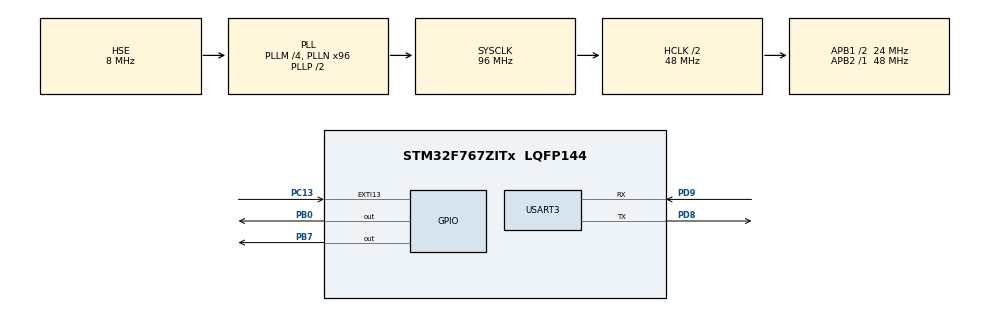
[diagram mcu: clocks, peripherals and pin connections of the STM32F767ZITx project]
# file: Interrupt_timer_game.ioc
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Mcu.Family=STM32F7
Mcu.Name=STM32F767ZITx
Mcu.Package=LQFP144
NVIC.EXTI15_10_IRQn=true\:0\:0\:false\:false\:true\:true\:true
NVIC.PriorityGroup=NVIC_PRIORITYGROUP_4
PB0.Signal=GPIO_Output
PB7.Signal=GPIO_Output
PC13.Signal=GPXTI13
PD8.Mode=Asynchronous
PD8.Signal=USART3_TX
PD9.Mode=Asynchronous
PD9.Signal=USART3_RX
PH0/OSC_IN.Mode=HSE-External-Oscillator
PH0/OSC_IN.Signal=RCC_OSC_IN
PH1/OSC_OUT.Mode=HSE-External-Oscillator
PH1/OSC_OUT.Signal=RCC_OSC_OUT
ProjectManager.HeapSize=0x200
ProjectManager.StackSize=0x400
ProjectManager.TargetToolchain=STM32CubeIDE
RCC.AHBCLKDivider=RCC_SYSCLK_DIV2
RCC.AHBFreq_Value=48000000
RCC.APB1CLKDivider=RCC_HCLK_DIV2
RCC.APB1Freq_Value=24000000
RCC.APB1TimFreq_Value=48000000
RCC.APB2Freq_Value=48000000
RCC.APB2TimFreq_Value=48000000
RCC.CortexFreq_Value=48000000
RCC.HCLKFreq_Value=48000000
RCC.HSE_VALUE=8000000
RCC.HSI_VALUE=16000000
RCC.LSE_VALUE=32768
RCC.PLLM=4
RCC.PLLN=96
RCC.PLLSourceVirtual=RCC_PLLSOURCE_HSE
RCC.SYSCLKFreq_VALUE=96000000
RCC.SYSCLKSource=RCC_SYSCLKSOURCE_PLLCLK
RCC.USBFreq_Value=96000000
RCC.VCOOutputFreq_Value=192000000
TIM13.Prescaler=4800-1
TIM14.Prescaler=4800-1
USART3.VirtualMode-Asynchronous=VM_ASYNC
VP_TIM13_VS_ClockSourceINT.Mode=Enable_Timer
VP_TIM14_VS_ClockSourceINT.Mode=Enable_Timer
board=custom

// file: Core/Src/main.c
/* USER CODE BEGIN Header */
/**
  ******************************************************************************
  * @file           : main.c
  * @brief          : Main program body
  ******************************************************************************
  * @attention
  *
  * <h2><center>&copy; Copyright (c) 2020 STMicroelectronics.
  * All rights reserved.</center></h2>
  *
  * This software component is licensed by ST under BSD 3-Clause license,
  * the "License"; You may not use this file except in compliance with the
  * License. You may obtain a copy of the License at:
  *                        opensource.org/licenses/BSD-3-Clause
  *
  ******************************************************************************
  */
/* USER CODE END Header */
#include "main.h"

/* USER CODE BEGIN Includes */
#include <math.h>
#include <string.h>
/* USER CODE END Includes */

TIM_HandleTypeDef htim13;
TIM_HandleTypeDef htim14;

UART_HandleTypeDef huart3;

/* USER CODE BEGIN PV */
char uart_bufer[20];
int uart_bufer_len;
uint16_t timer_val;

int gameRDY = 0;
uint16_t gameTime = 0;
uint8_t rndDelay;
char uart_game_buf[20];
int uart_game_buf_len;
uint8_t welcome[20] = "Let's PLAY!!!\r\n";
/* USER CODE END PV */

void SystemClock_Config(void);
static void MX_GPIO_Init(void);
static void MX_TIM14_Init(void);
static void MX_USART3_UART_Init(void);
static void MX_TIM13_Init(void);

int main(void)
{

  /* MCU Configuration--------------------------------------------------------*/

  /* Reset of all peripherals, Initializes the Flash interface and the Systick. */
  HAL_Init();

  /* Configure the system clock */
  SystemClock_Config();

  /* Initialize all configured peripherals */
  MX_GPIO_Init();
  MX_TIM14_Init();
  MX_USART3_UART_Init();
  MX_TIM13_Init();
  /* USER CODE BEGIN 2 */
  HAL_TIM_Base_Start(&htim14);
  HAL_TIM_Base_Start(&htim13);

  HAL_UART_Transmit(&huart3,welcome,20,10);
  /* USER CODE END 2 */

  /* Infinite loop */
  /* USER CODE BEGIN WHILE */
  while (1)
  {
	 // Task 1 - Measure how acurate HAL_Delay() is
	  /*timer_val = __HAL_TIM_GET_COUNTER(&htim14);

	  HAL_Delay(5000);

	  timer_val = __HAL_TIM_GET_COUNTER(&htim14) - timer_val;

	  uart_bufer_len = sprintf(uart_bufer,"%u us\r\n",timer_val);
	  HAL_UART_Transmit(&huart3,(uint8_t*)uart_bufer,uart_bufer_len,100);
	  HAL_Delay(1000);*/
	  //----------------------------

	  //Task 2 - Interrupt game
	  if(gameRDY == 1){

		  HAL_GPIO_WritePin(GPIOB,GPIO_PIN_0,1);
		  rndDelay = (rand()%8) + 1;
		  HAL_Delay(rndDelay*1000);
		  HAL_GPIO_WritePin(GPIOB,GPIO_PIN_7,1);
		  gameTime = __HAL_TIM_GET_COUNTER(&htim14);

	  }else{
		  HAL_GPIO_WritePin(GPIOB,GPIO_PIN_0,0);
		  HAL_GPIO_WritePin(GPIOB,GPIO_PIN_7,0);
	  }
	  //-------------------------------

    /* USER CODE END WHILE */

  }
}

void SystemClock_Config(void)
{
  RCC_OscInitTypeDef RCC_OscInitStruct = {0};
  RCC_ClkInitTypeDef RCC_ClkInitStruct = {0};
  RCC_PeriphCLKInitTypeDef PeriphClkInitStruct = {0};

  /** Configure the main internal regulator output voltage
  */
  __HAL_RCC_PWR_CLK_ENABLE();
  __HAL_PWR_VOLTAGESCALING_CONFIG(PWR_REGULATOR_VOLTAGE_SCALE3);
  /** Initializes the RCC Oscillators according to the specified parameters
  * in the RCC_OscInitTypeDef structure.
  */
  RCC_OscInitStruct.OscillatorType = RCC_OSCILLATORTYPE_HSE;
  RCC_OscInitStruct.HSEState = RCC_HSE_ON;
  RCC_OscInitStruct.PLL.PLLState = RCC_PLL_ON;
  RCC_OscInitStruct.PLL.PLLSource = RCC_PLLSOURCE_HSE;
  RCC_OscInitStruct.PLL.PLLM = 4;
  RCC_OscInitStruct.PLL.PLLN = 96;
  RCC_OscInitStruct.PLL.PLLP = RCC_PLLP_DIV2;
  RCC_OscInitStruct.PLL.PLLQ = 2;
  if (HAL_RCC_OscConfig(&RCC_OscInitStruct) != HAL_OK)
  {
    Error_Handler();
  }
  /** Initializes the CPU, AHB and APB buses clocks
  */
  RCC_ClkInitStruct.ClockType = RCC_CLOCKTYPE_HCLK|RCC_CLOCKTYPE_SYSCLK
                              |RCC_CLOCKTYPE_PCLK1|RCC_CLOCKTYPE_PCLK2;
  RCC_ClkInitStruct.SYSCLKSource = RCC_SYSCLKSOURCE_PLLCLK;
  RCC_ClkInitStruct.AHBCLKDivider = RCC_SYSCLK_DIV2;
  RCC_ClkInitStruct.APB1CLKDivider = RCC_HCLK_DIV2;
  RCC_ClkInitStruct.APB2CLKDivider = RCC_HCLK_DIV1;

  if (HAL_RCC_ClockConfig(&RCC_ClkInitStruct, FLASH_LATENCY_1) != HAL_OK)
  {
    Error_Handler();
  }
  PeriphClkInitStruct.PeriphClockSelection = RCC_PERIPHCLK_USART3;
  PeriphClkInitStruct.Usart3ClockSelection = RCC_USART3CLKSOURCE_PCLK1;
  if (HAL_RCCEx_PeriphCLKConfig(&PeriphClkInitStruct) != HAL_OK)
  {
    Error_Handler();
  }
}

static void MX_TIM13_Init(void)
{

  htim13.Instance = TIM13;
  htim13.Init.Prescaler = 4800-1;
  htim13.Init.CounterMode = TIM_COUNTERMODE_UP;
  htim13.Init.Period = 65535;
  htim13.Init.ClockDivision = TIM_CLOCKDIVISION_DIV1;
  htim13.Init.AutoReloadPreload = TIM_AUTORELOAD_PRELOAD_DISABLE;
  if (HAL_TIM_Base_Init(&htim13) != HAL_OK)
  {
    Error_Handler();
  }

}

static void MX_TIM14_Init(void)
{

  htim14.Instance = TIM14;
  htim14.Init.Prescaler = 4800-1;
  htim14.Init.CounterMode = TIM_COUNTERMODE_UP;
  htim14.Init.Period = 65535;
  htim14.Init.ClockDivision = TIM_CLOCKDIVISION_DIV1;
  htim14.Init.AutoReloadPreload = TIM_AUTORELOAD_PRELOAD_DISABLE;
  if (HAL_TIM_Base_Init(&htim14) != HAL_OK)
  {
    Error_Handler();
  }

}

static void MX_USART3_UART_Init(void)
{

  huart3.Instance = USART3;
  huart3.Init.BaudRate = 115200;
  huart3.Init.WordLength = UART_WORDLENGTH_8B;
  huart3.Init.StopBits = UART_STOPBITS_1;
  huart3.Init.Parity = UART_PARITY_NONE;
  huart3.Init.Mode = UART_MODE_TX_RX;
  huart3.Init.HwFlowCtl = UART_HWCONTROL_NONE;
  huart3.Init.OverSampling = UART_OVERSAMPLING_16;
  huart3.Init.OneBitSampling = UART_ONE_BIT_SAMPLE_DISABLE;
  huart3.AdvancedInit.AdvFeatureInit = UART_ADVFEATURE_NO_INIT;
  if (HAL_UART_Init(&huart3) != HAL_OK)
  {
    Error_Handler();
  }

}

static void MX_GPIO_Init(void)
{
  GPIO_InitTypeDef GPIO_InitStruct = {0};

  /* GPIO Ports Clock Enable */
  __HAL_RCC_GPIOC_CLK_ENABLE();
  __HAL_RCC_GPIOH_CLK_ENABLE();
  __HAL_RCC_GPIOB_CLK_ENABLE();
  __HAL_RCC_GPIOD_CLK_ENABLE();

  /*Configure GPIO pin Output Level */
  HAL_GPIO_WritePin(GPIOB, GPIO_PIN_0|GPIO_PIN_7, GPIO_PIN_RESET);

  /*Configure GPIO pin : PC13 */
  GPIO_InitStruct.Pin = GPIO_PIN_13;
  GPIO_InitStruct.Mode = GPIO_MODE_IT_RISING;
  GPIO_InitStruct.Pull = GPIO_NOPULL;
  HAL_GPIO_Init(GPIOC, &GPIO_InitStruct);

  /*Configure GPIO pins : PB0 PB7 */
  GPIO_InitStruct.Pin = GPIO_PIN_0|GPIO_PIN_7;
  GPIO_InitStruct.Mode = GPIO_MODE_OUTPUT_PP;
  GPIO_InitStruct.Pull = GPIO_NOPULL;
  GPIO_InitStruct.Speed = GPIO_SPEED_FREQ_LOW;
  HAL_GPIO_Init(GPIOB, &GPIO_InitStruct);

  /* EXTI interrupt init*/
  HAL_NVIC_SetPriority(EXTI15_10_IRQn, 0, 0);
  HAL_NVIC_EnableIRQ(EXTI15_10_IRQn);

}

/* USER CODE BEGIN 4 */
void HAL_GPIO_EXTI_Callback(uint16_t GPIO_Pin)
{
  /* Prevent unused argument(s) compilation warning */
  UNUSED(GPIO_Pin);
  if(gameRDY == 0){
	  gameRDY = 1;
	  for(int i = 0;i<10000;i++); //delay for interrupt

  }else{
	  gameTime = __HAL_TIM_GET_COUNTER(&htim14) - gameTime;
	  uart_game_buf_len = sprintf(uart_game_buf,"%u us\r\n",gameTime);
	  HAL_UART_Transmit(&huart3,(uint8_t*)uart_game_buf,uart_game_buf_len,100);
	  gameRDY = 0;
	  HAL_GPIO_WritePin(GPIOB,GPIO_PIN_7,0);
	  HAL_GPIO_WritePin(GPIOB,GPIO_PIN_0,0);
	  for(int i = 0;i<10000;i++); //delay for interrupt

  }

}
/* USER CODE END 4 */

void Error_Handler(void)
{
}

/************************ (C) COPYRIGHT STMicroelectronics *****END OF FILE****/
